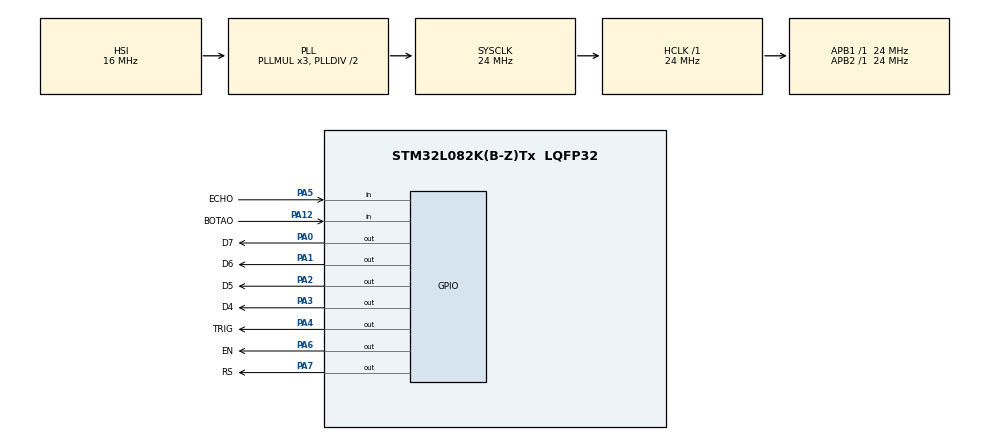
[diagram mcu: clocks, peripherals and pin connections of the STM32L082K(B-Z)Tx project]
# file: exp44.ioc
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Mcu.Family=STM32L0
Mcu.Name=STM32L082K(B-Z)Tx
Mcu.Package=LQFP32
NVIC.PVD_IRQn=true\:0\:0\:false\:false\:true
PA0.GPIO_Label=D7
PA0.Signal=GPIO_Output
PA1.GPIO_Label=D6
PA1.Signal=GPIO_Output
PA12.GPIO_Label=BOTAO
PA12.Signal=GPIO_Input
PA13.Mode=Serial_Wire
PA13.Signal=SYS_SWDIO
PA14.Mode=Serial_Wire
PA14.Signal=SYS_SWCLK
PA2.GPIO_Label=D5
PA2.Signal=GPIO_Output
PA3.GPIO_Label=D4
PA3.Signal=GPIO_Output
PA4.GPIO_Label=TRIG
PA4.Signal=GPIO_Output
PA5.GPIO_Label=ECHO
PA5.Signal=GPIO_Input
PA6.GPIO_Label=EN
PA6.Signal=GPIO_Output
PA7.GPIO_Label=RS
PA7.Signal=GPIO_Output
ProjectManager.HeapSize=0x200
ProjectManager.StackSize=0x400
ProjectManager.TargetToolchain=MDK-ARM V5
RCC.AHBFreq_Value=24000000
RCC.APB1Freq_Value=24000000
RCC.APB1TimFreq_Value=24000000
RCC.APB2Freq_Value=24000000
RCC.APB2TimFreq_Value=24000000
RCC.HCLKFreq_Value=24000000
RCC.HSI16_VALUE=16000000
RCC.HSI48_VALUE=48000000
RCC.HSI_VALUE=16000000
RCC.LSE_VALUE=32768
RCC.MSI_VALUE=2097000
RCC.PLLSourceVirtual=RCC_PLLSOURCE_HSI
RCC.SYSCLKFreq_VALUE=24000000
RCC.SYSCLKSource=RCC_SYSCLKSOURCE_PLLCLK
RCC.VCOOutputFreq_Value=48000000
board=exp44

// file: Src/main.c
/**
  ******************************************************************************
  * File Name          : main.c
  * Description        : Main program body
  ******************************************************************************
  ** This notice applies to any and all portions of this file
  * that are not between comment pairs USER CODE BEGIN and
  * USER CODE END. Other portions of this file, whether
  * inserted by the user or by software development tools
  * are owned by their respective copyright owners.
  *
  * COPYRIGHT(c) 2017 STMicroelectronics
  *
  * Redistribution and use in source and binary forms, with or without modification,
  * are permitted provided that the following conditions are met:
  *   1. Redistributions of source code must retain the above copyright notice,
  *      this list of conditions and the following disclaimer.
  *   2. Redistributions in binary form must reproduce the above copyright notice,
  *      this list of conditions and the following disclaimer in the documentation
  *      and/or other materials provided with the distribution.
  *   3. Neither the name of STMicroelectronics nor the names of its contributors
  *      may be used to endorse or promote products derived from this software
  *      without specific prior written permission.
  *
  * THIS SOFTWARE IS PROVIDED BY THE COPYRIGHT HOLDERS AND CONTRIBUTORS "AS IS"
  * AND ANY EXPRESS OR IMPLIED WARRANTIES, INCLUDING, BUT NOT LIMITED TO, THE
  * IMPLIED WARRANTIES OF MERCHANTABILITY AND FITNESS FOR A PARTICULAR PURPOSE ARE
  * DISCLAIMED. IN NO EVENT SHALL THE COPYRIGHT HOLDER OR CONTRIBUTORS BE LIABLE
  * FOR ANY DIRECT, INDIRECT, INCIDENTAL, SPECIAL, EXEMPLARY, OR CONSEQUENTIAL
  * DAMAGES (INCLUDING, BUT NOT LIMITED TO, PROCUREMENT OF SUBSTITUTE GOODS OR
  * SERVICES; LOSS OF USE, DATA, OR PROFITS; OR BUSINESS INTERRUPTION) HOWEVER
  * CAUSED AND ON ANY THEORY OF LIABILITY, WHETHER IN CONTRACT, STRICT LIABILITY,
  * OR TORT (INCLUDING NEGLIGENCE OR OTHERWISE) ARISING IN ANY WAY OUT OF THE USE
  * OF THIS SOFTWARE, EVEN IF ADVISED OF THE POSSIBILITY OF SUCH DAMAGE.
  *
  ******************************************************************************
  */
#include "main.h"
#include "stm32l0xx_hal.h"
#include "gpio.h"

/* USER CODE BEGIN Includes */
#include "string.h"

/* USER CODE END Includes */

/* USER CODE BEGIN PV */
/* Private variables ---------------------------------------------------------*/
	char distancia[]="";
	int k,ec,y,z;
/* USER CODE END PV */

void SystemClock_Config(void);

/* USER CODE BEGIN PFP */
/* Private function prototypes -----------------------------------------------*/
void dados(int comando);
void lcd_comando(int comando);
void lcd_dado(int dado);
void lcd_init(void);
void lcd_string(char vetor[]);
void lcd_clear(void);
void lcd_goto(int linha, int coluna);
void uDelay(void);
void delay_us(int tempo);

/* USER CODE END PFP */

/* USER CODE BEGIN 0 */
void dados(int comando)
{
	if((comando & 0x80)==0)
		GPIOA->BRR=D7_Pin; //D7=0
	else
		GPIOA->BSRR=D7_Pin; //D7=1

	if((comando & 0x40)==0)
		GPIOA->BRR=D6_Pin; //D6=0
	else
		GPIOA->BSRR=D6_Pin; //D6=0

	if((comando & 0x20)==0)
		GPIOA->BRR=D5_Pin; //D5=0
	else
		GPIOA->BSRR=D5_Pin; //D5=1

	if((comando & 0x10)==0)
		GPIOA->BRR=D4_Pin; //D4=0
	else
		GPIOA->BSRR=D4_Pin; //D4=1

	GPIOA->BSRR=EN_Pin; //EN=1
	HAL_Delay(1);
	GPIOA->BRR=EN_Pin; //EN=0
	HAL_Delay(1);

	//////

	if((comando & 0x8)==0)
		GPIOA->BRR=D7_Pin; //D7=0
	else
		GPIOA->BSRR=D7_Pin; //D7=1

	if((comando & 0x4)==0)
		GPIOA->BRR=D6_Pin; //D6=0
	else
		GPIOA->BSRR=D6_Pin; //D6=0

	if((comando & 0x2)==0)
		GPIOA->BRR=D5_Pin; //D5=0
	else
		GPIOA->BSRR=D5_Pin; //D5=1

	if((comando & 0x1)==0)
		GPIOA->BRR=D4_Pin; //D4=0
	else
		GPIOA->BSRR=D4_Pin; //D4=1

	GPIOA->BSRR=EN_Pin; //EN=1
	HAL_Delay(1);
	GPIOA->BRR=EN_Pin; //EN=0
	HAL_Delay(1);
}

void lcd_comando(int comando)
{
	GPIOA->BRR=RS_Pin;
	dados(comando);
}

void lcd_dado(int dado)
{
	GPIOA->BSRR=RS_Pin;
	dados(dado);
}

void lcd_init(void)
{
	lcd_comando(0x33);
	lcd_comando(0x32);
	lcd_comando(0x28);
	lcd_comando(0x0e);
	lcd_comando(0x06);
	lcd_comando(0x01);
	HAL_Delay(1);
}

void lcd_string(char vetor[])
{
	for(int k=0;vetor[k]!=0;k++)
		lcd_dado(vetor[k]);
}

void lcd_clear(void)
{
	lcd_comando(0x01);
}

void lcd_goto(int linha, int coluna)
{
	int v;
	if(linha==1)
		v = 0x80 + (coluna-1)*0x01;
	else if(linha==2)
		v = 0xc0 + (coluna-1)*0x01;
	lcd_comando(v);
}

void uDelay(void)
{
	int x=5;
	while(x) x--;
}
void delay_us(int tempo)
{
	while(tempo--) uDelay();
}

/* USER CODE END 0 */

int main(void)
{

  /* MCU Configuration----------------------------------------------------------*/

  /* Reset of all peripherals, Initializes the Flash interface and the Systick. */
  HAL_Init();

  /* Configure the system clock */
  SystemClock_Config();

  /* Initialize all configured peripherals */
  MX_GPIO_Init();

  /* USER CODE BEGIN 2 */
	lcd_init();
	lcd_goto(1,1);
	lcd_string("TRENA ELETRONICA");
	GPIOA->BRR=1<<4; //TRIGGER 0

  /* USER CODE END 2 */

  /* Infinite loop */
  /* USER CODE BEGIN WHILE */
  while (1)
  {
		while((GPIOA->IDR & (1<<12))!=0); //ESPERA BOTAO
		while((GPIOA->IDR & (1<<12))==0);

		GPIOA->BRR=1<<4; //TRIGGER 0
		delay_us(2);
		GPIOA->BSRR=1<<4; //TRIGGER 1
		delay_us(10);
		GPIOA->BRR=1<<4; //TRIGGER 0
		k=0;
		while((GPIOA->IDR & (1<<5))!=0) //ENQUANTO ECHO == 1
		{
			k++;
			delay_us(1);
		}

		HAL_Delay(10);
		lcd_goto(2,5), sprintf(distancia,"%d",k); //ESCREVE
		lcd_string(distancia);
		HAL_Delay(50);
		while(1);

  /* USER CODE END WHILE */

  }

}

/** System Clock Configuration
*/
void SystemClock_Config(void)
{

  RCC_OscInitTypeDef RCC_OscInitStruct;
  RCC_ClkInitTypeDef RCC_ClkInitStruct;

    /**Configure the main internal regulator output voltage
    */
  __HAL_PWR_VOLTAGESCALING_CONFIG(PWR_REGULATOR_VOLTAGE_SCALE1);

    /**Initializes the CPU, AHB and APB busses clocks
    */
  RCC_OscInitStruct.OscillatorType = RCC_OSCILLATORTYPE_HSI;
  RCC_OscInitStruct.HSIState = RCC_HSI_ON;
  RCC_OscInitStruct.HSICalibrationValue = 16;
  RCC_OscInitStruct.PLL.PLLState = RCC_PLL_ON;
  RCC_OscInitStruct.PLL.PLLSource = RCC_PLLSOURCE_HSI;
  RCC_OscInitStruct.PLL.PLLMUL = RCC_PLLMUL_3;
  RCC_OscInitStruct.PLL.PLLDIV = RCC_PLLDIV_2;
  if (HAL_RCC_OscConfig(&RCC_OscInitStruct) != HAL_OK)
  {
    _Error_Handler(__FILE__, __LINE__);
  }

    /**Initializes the CPU, AHB and APB busses clocks
    */
  RCC_ClkInitStruct.ClockType = RCC_CLOCKTYPE_HCLK|RCC_CLOCKTYPE_SYSCLK
                              |RCC_CLOCKTYPE_PCLK1|RCC_CLOCKTYPE_PCLK2;
  RCC_ClkInitStruct.SYSCLKSource = RCC_SYSCLKSOURCE_PLLCLK;
  RCC_ClkInitStruct.AHBCLKDivider = RCC_SYSCLK_DIV1;
  RCC_ClkInitStruct.APB1CLKDivider = RCC_HCLK_DIV1;
  RCC_ClkInitStruct.APB2CLKDivider = RCC_HCLK_DIV1;

  if (HAL_RCC_ClockConfig(&RCC_ClkInitStruct, FLASH_LATENCY_1) != HAL_OK)
  {
    _Error_Handler(__FILE__, __LINE__);
  }

    /**Configure the Systick interrupt time
    */
  HAL_SYSTICK_Config(HAL_RCC_GetHCLKFreq()/1000);

    /**Configure the Systick
    */
  HAL_SYSTICK_CLKSourceConfig(SYSTICK_CLKSOURCE_HCLK);

  /* SysTick_IRQn interrupt configuration */
  HAL_NVIC_SetPriority(SysTick_IRQn, 0, 0);
}

void _Error_Handler(char * file, int line)
{
  while(1)
  {
  }
}

/************************ (C) COPYRIGHT STMicroelectronics *****END OF FILE****/
